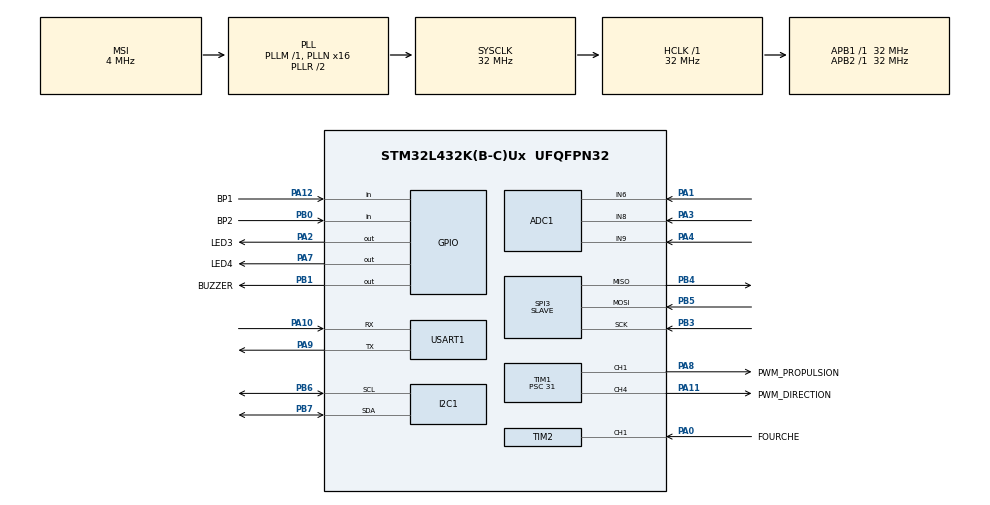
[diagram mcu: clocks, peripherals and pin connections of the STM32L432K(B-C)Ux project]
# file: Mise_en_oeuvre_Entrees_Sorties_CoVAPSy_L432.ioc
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ADC1.Channel-0\#ChannelRegularConversion=ADC_CHANNEL_6
ADC1.Channel-1\#ChannelRegularConversion=ADC_CHANNEL_8
ADC1.Channel-2\#ChannelRegularConversion=ADC_CHANNEL_9
ADC1.ClockPrescaler=ADC_CLOCK_ASYNC_DIV1
ADC1.ContinuousConvMode=DISABLE
ADC1.DMAContinuousRequests=ENABLE
ADC1.DiscontinuousConvMode=DISABLE
ADC1.EOCSelection=ADC_EOC_SEQ_CONV
ADC1.NbrOfConversion=3
ADC1.NbrOfConversionFlag=1
ADC1.OffsetNumber-0\#ChannelRegularConversion=ADC_OFFSET_NONE
ADC1.OffsetNumber-1\#ChannelRegularConversion=ADC_OFFSET_NONE
ADC1.OffsetNumber-2\#ChannelRegularConversion=ADC_OFFSET_NONE
ADC1.Overrun=ADC_OVR_DATA_OVERWRITTEN
ADC1.Rank-0\#ChannelRegularConversion=1
ADC1.Rank-1\#ChannelRegularConversion=2
ADC1.Rank-2\#ChannelRegularConversion=3
ADC1.SamplingTime-0\#ChannelRegularConversion=ADC_SAMPLETIME_2CYCLES_5
ADC1.SamplingTime-1\#ChannelRegularConversion=ADC_SAMPLETIME_2CYCLES_5
ADC1.SamplingTime-2\#ChannelRegularConversion=ADC_SAMPLETIME_2CYCLES_5
ADC1.master=1
Dma.ADC1.0.Direction=DMA_PERIPH_TO_MEMORY
Dma.ADC1.0.Instance=DMA1_Channel1
Dma.ADC1.0.MemDataAlignment=DMA_MDATAALIGN_WORD
Dma.ADC1.0.MemInc=DMA_MINC_ENABLE
Dma.ADC1.0.Mode=DMA_CIRCULAR
Dma.ADC1.0.PeriphDataAlignment=DMA_PDATAALIGN_WORD
Dma.ADC1.0.PeriphInc=DMA_PINC_DISABLE
Dma.ADC1.0.Priority=DMA_PRIORITY_LOW
Dma.Request0=ADC1
Dma.Request1=SPI3_TX
Dma.Request2=SPI3_RX
Dma.SPI3_RX.2.Direction=DMA_PERIPH_TO_MEMORY
Dma.SPI3_RX.2.Instance=DMA2_Channel1
Dma.SPI3_RX.2.MemDataAlignment=DMA_MDATAALIGN_BYTE
Dma.SPI3_RX.2.MemInc=DMA_MINC_ENABLE
Dma.SPI3_RX.2.Mode=DMA_NORMAL
Dma.SPI3_RX.2.PeriphDataAlignment=DMA_PDATAALIGN_BYTE
Dma.SPI3_RX.2.PeriphInc=DMA_PINC_DISABLE
Dma.SPI3_RX.2.Priority=DMA_PRIORITY_LOW
Dma.SPI3_TX.1.Direction=DMA_MEMORY_TO_PERIPH
Dma.SPI3_TX.1.Instance=DMA2_Channel2
Dma.SPI3_TX.1.MemDataAlignment=DMA_MDATAALIGN_BYTE
Dma.SPI3_TX.1.MemInc=DMA_MINC_ENABLE
Dma.SPI3_TX.1.Mode=DMA_NORMAL
Dma.SPI3_TX.1.PeriphDataAlignment=DMA_PDATAALIGN_BYTE
Dma.SPI3_TX.1.PeriphInc=DMA_PINC_DISABLE
Dma.SPI3_TX.1.Priority=DMA_PRIORITY_LOW
I2C1.Timing=0x00707CBB
Mcu.Family=STM32L4
Mcu.Name=STM32L432K(B-C)Ux
Mcu.Package=UFQFPN32
NVIC.DMA1_Channel1_IRQn=true\:0\:0\:false\:false\:true\:false\:true\:true
NVIC.DMA2_Channel1_IRQn=true\:0\:0\:false\:false\:true\:false\:true\:true
NVIC.DMA2_Channel2_IRQn=true\:0\:0\:false\:false\:true\:false\:true\:true
NVIC.PriorityGroup=NVIC_PRIORITYGROUP_4
NVIC.SPI3_IRQn=true\:0\:0\:false\:false\:true\:true\:true\:true
NVIC.TIM2_IRQn=true\:0\:0\:false\:false\:true\:true\:true\:true
NVIC.TIM6_DAC_IRQn=true\:0\:0\:false\:false\:true\:true\:true\:true
PA0.GPIO_Label=FOURCHE
PA0.Signal=S_TIM2_CH1
PA1.Signal=ADCx_IN6
PA10.Mode=Asynchronous
PA10.Signal=USART1_RX
PA11.GPIO_Label=PWM_DIRECTION
PA11.Signal=S_TIM1_CH4
PA12.GPIO_Label=BP1
PA12.Signal=GPIO_Input
PA13\ (JTMS-SWDIO).GPIO_Label=SWDIO
PA13\ (JTMS-SWDIO).Mode=Serial_Wire
PA13\ (JTMS-SWDIO).Signal=SYS_JTMS-SWDIO
PA14\ (JTCK-SWCLK).GPIO_Label=SWCLK
PA14\ (JTCK-SWCLK).Mode=Serial_Wire
PA14\ (JTCK-SWCLK).Signal=SYS_JTCK-SWCLK
PA15\ (JTDI).GPIO_Label=VCP_RX
PA15\ (JTDI).Signal=USART2_RX
PA2.GPIO_Label=LED3
PA2.Signal=GPIO_Output
PA3.Signal=ADCx_IN8
PA4.Signal=ADCx_IN9
PA7.GPIO_Label=LED4
PA7.Signal=GPIO_Output
PA8.GPIO_Label=PWM_PROPULSION
PA8.Signal=S_TIM1_CH1
PA9.Mode=Asynchronous
PA9.Signal=USART1_TX
PB0.GPIO_Label=BP2
PB0.Signal=GPIO_Input
PB1.GPIO_Label=BUZZER
PB1.Signal=GPIO_Output
PB3\ (JTDO-TRACESWO).Mode=Full_Duplex_Slave
PB3\ (JTDO-TRACESWO).Signal=SPI3_SCK
PB4\ (NJTRST).Mode=Full_Duplex_Slave
PB4\ (NJTRST).Signal=SPI3_MISO
PB5.Mode=Full_Duplex_Slave
PB5.Signal=SPI3_MOSI
PB6.Mode=I2C
PB6.Signal=I2C1_SCL
PB7.Mode=I2C
PB7.Signal=I2C1_SDA
PC14-OSC32_IN\ (PC14).Mode=LSE-External-Oscillator
PC14-OSC32_IN\ (PC14).Signal=RCC_OSC32_IN
PC15-OSC32_OUT\ (PC15).Mode=LSE-External-Oscillator
PC15-OSC32_OUT\ (PC15).Signal=RCC_OSC32_OUT
ProjectManager.HeapSize=0x200
ProjectManager.StackSize=0x400
ProjectManager.TargetToolchain=STM32CubeIDE
RCC.ADCFreq_Value=32000000
RCC.AHBFreq_Value=32000000
RCC.APB1Freq_Value=32000000
RCC.APB1TimFreq_Value=32000000
RCC.APB2Freq_Value=32000000
RCC.APB2TimFreq_Value=32000000
RCC.CortexFreq_Value=32000000
RCC.HCLKFreq_Value=32000000
RCC.HSE_VALUE=8000000
RCC.HSI16_VALUE=16000000
RCC.HSI48_VALUE=48000000
RCC.HSI_VALUE=16000000
RCC.MSI_VALUE=4000000
RCC.PLLMUL=RCC_PLLMUL_4
RCC.PLLN=16
RCC.PLLSAI1N=16
RCC.SYSCLKFreq_VALUE=32000000
RCC.SYSCLKSource=RCC_SYSCLKSOURCE_PLLCLK
RCC.USBFreq_Value=32000000
RCC.VCOOutputFreq_Value=64000000
SH.ADCx_IN6.0=ADC1_IN6,IN6-Single-Ended
SH.ADCx_IN8.0=ADC1_IN8,IN8-Single-Ended
SH.ADCx_IN9.0=ADC1_IN9,IN9-Single-Ended
SH.S_TIM1_CH1.0=TIM1_CH1,PWM Generation1 CH1
SH.S_TIM1_CH4.0=TIM1_CH4,PWM Generation4 CH4
SH.S_TIM2_CH1.0=TIM2_CH1,Input_Capture1_from_TI1
SPI3.CRCCalculation=SPI_CRCCALCULATION_DISABLE
SPI3.DataSize=SPI_DATASIZE_8BIT
SPI3.Direction=SPI_DIRECTION_2LINES
SPI3.Mode=SPI_MODE_SLAVE
SPI3.VirtualType=VM_SLAVE
TIM1.Channel-PWM\ Generation1\ CH1=TIM_CHANNEL_1
TIM1.Channel-PWM\ Generation4\ CH4=TIM_CHANNEL_4
TIM1.Period=20000
TIM1.Prescaler=31
TIM1.Pulse-PWM\ Generation1\ CH1=1500
TIM1.Pulse-PWM\ Generation4\ CH4=1500
TIM2.Channel-Input_Capture1_from_TI1=TIM_CHANNEL_1
TIM2.ICPolarity_CH1=TIM_INPUTCHANNELPOLARITY_FALLING
TIM2.Prescaler=31
TIM6.Period=2272
TIM6.Prescaler=31
USART1.VirtualMode-Asynchronous=VM_ASYNC
VP_TIM1_VS_ClockSourceINT.Mode=Internal
VP_TIM2_VS_ClockSourceINT.Mode=Internal
VP_TIM6_VS_ClockSourceINT.Mode=Enable_Timer
board=NUCLEO-L432KC

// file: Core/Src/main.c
/* USER CODE BEGIN Header */
/**
  ******************************************************************************
  * @file           : main.c
  * @brief          : Main program body
  ******************************************************************************
  * @attention
  *
  * Copyright (c) 2023 STMicroelectronics.
  * All rights reserved.
  *
  * This software is licensed under terms that can be found in the LICENSE file
  * in the root directory of this software component.
  * If no LICENSE file comes with this software, it is provided AS-IS.
  *
  ******************************************************************************
  */
/* USER CODE END Header */
#include "main.h"
#include "adc.h"
#include "dma.h"
#include "i2c.h"
#include "spi.h"
#include "tim.h"
#include "usart.h"
#include "gpio.h"

/* USER CODE BEGIN Includes */
#include "CoVAPSy_buzzer.h"
#include "CoVAPSy_bno055.h"
#include "u8g.h"
#include "stdio.h"
#include "data.h"
/* USER CODE END Includes */

/* USER CODE BEGIN PD */
#define BP_ENFONCE 0
#define BP_RELACHE 1
#define BUTEE_DROITE 1630
#define BUTEE_GAUCHE 1160
#define DISTANCE_1_TOUR_AXE_TRANSMISSION_MM 79
#define ADRES_SRF10 0x70
#define ADDRESS_TF051 0x3C

/* USER CODE END PD */

/* USER CODE BEGIN PV */

/* Variables globales
 * vitesse_mesuree_m_s : vitesse lineaire mesuree par la fourche optique
 * lectures_ADC[3] : les deux premières cases contiennent les données des capteurs infrarouges à l'arrière
 * roll : roulis de la voiture (EULER)
 * yaw : lacet (EULER)
 * pitch : tangage (EULER)
 * acc_x, acc_y : accélération liée à la gravité
 * lia_x, lia_y : accélération linéaire liée à l'accélération moteur
 * gyr_z : vitesse de rotation autour de l'axe z
 * distance_US : distance mesurée par le capteur ultrason ou sonar à l'arrière de la voiture
 * temp : température de l'IMU
 */

float vitesse_mesuree_m_s = 0;
uint16_t vitesse_mesuree_mm_s = 0;
uint32_t lectures_ADC[3];
uint8_t SPI_TxBuffer_data[12]={}; 	//buffer pour la transmission SPI
uint8_t SPI_RxBuffer[12] ={}; 		// Buffer pour la réception SPI
int16_t roll, yaw, pitch, distance_US, acc_x, acc_y, lia_x, lia_y, gyr_z;
uint8_t temp;
uint32_t drapeau = 0;
static u8g_t u8g;

/* USER CODE END PV */

void SystemClock_Config(void);

/* USER CODE BEGIN 0 */
uint8_t control = 0;
void u8g_Delay(uint16_t val) {
    HAL_Delay(val);
}
void u8g_xMicroDelay(uint16_t val) {
    static uint32_t i, j;
    static uint32_t freq;
    freq = HAL_RCC_GetSysClockFreq() / 1000000;

    for (i = 0; i < val;) {
        for (j = 0; j < freq; ++j) {
            ++j;
        }
        ++i;
    }
}
void u8g_MicroDelay(void) {
    u8g_xMicroDelay(1);
}
void u8g_10MicroDelay(void) {
    u8g_xMicroDelay(10);
}

uint8_t u8g_com_arm_stm32_sh_i2c_fn(u8g_t *u8g, uint8_t msg, uint8_t arg_val, void *arg_ptr) {
    switch (msg) {
    case U8G_COM_MSG_STOP:
        break;

    case U8G_COM_MSG_INIT:
        u8g_MicroDelay();
        break;

    case U8G_COM_MSG_ADDRESS:
        if (arg_val == 0) {
            control = 0;
        } else {
            control = 0x40;
        }
        u8g_10MicroDelay();
        break;

    case U8G_COM_MSG_WRITE_BYTE: {
        HAL_I2C_Mem_Write(&hi2c1, ADDRESS_TF051<<1, control, 1, &arg_val, 1, 10000);
    }
        break;

    case U8G_COM_MSG_WRITE_SEQ:
    case U8G_COM_MSG_WRITE_SEQ_P: {
        HAL_I2C_Mem_Write(&hi2c1, ADDRESS_TF051<<1, control, 1, arg_ptr, arg_val, 10000);
    }

        break;
    }
    return 1;
}

void displayInitializationMessage(u8g_t *u8g) {
    u8g_FirstPage(u8g);
    do {
        u8g_SetFont(u8g, u8g_font_profont12);
        u8g_DrawStr(u8g, 0, 24, "Sorbonne Bolide 1");
        u8g_DrawStr(u8g, 0, 36, "Initialisation OK");
    } while (u8g_NextPage(u8g));
}

/* USER CODE END 0 */

int main(void)
{
  /* USER CODE BEGIN 1 */

	uint32_t bp1,bp2,bp1_old=0,bp2_old=0;
	uint8_t donnees_Tx_i2c[8];
	uint8_t donnees_Rx_i2c[8];
	char text[50];
	enum State Init_state = OK;

  /* USER CODE END 1 */

  /* MCU Configuration--------------------------------------------------------*/

  /* Reset of all peripherals, Initializes the Flash interface and the Systick. */
  HAL_Init();

  /* Configure the system clock */
  SystemClock_Config();

  /* Initialize all configured peripherals */
  MX_GPIO_Init();
  MX_DMA_Init();
  MX_ADC1_Init();
  MX_SPI3_Init();
  MX_TIM1_Init();
  MX_USART1_UART_Init();
  MX_TIM2_Init();
  MX_I2C1_Init();
  MX_TIM6_Init();
  /* USER CODE BEGIN 2 */
  HAL_TIM_Base_Start_IT(&htim2);
  HAL_TIM_IC_Start_IT(&htim2, TIM_CHANNEL_1);
  HAL_TIM_PWM_Start(&htim1, TIM_CHANNEL_1);
  HAL_TIM_PWM_Start(&htim1, TIM_CHANNEL_4);

  // Buzzer starting sequence (Pirate des caraibes)
  buzzer_start();
  buzzer_gamme();

  // Initialization of the IMU sensor
  Init_state = bno055_init();

  if(Init_state == KO){
	  u8g_FirstPage(&u8g);
		  do {
			  u8g_SetFont(&u8g, u8g_font_profont12);
			  u8g_DrawStr(&u8g, 0, 24, "Sorbonne Bolide 1");
			  u8g_DrawStr(&u8g, 0, 36, "!!! Bad Init IMU !!!");
		     } while (u8g_NextPage(&u8g));
		  HAL_Delay(3000);
  	  }

  // Initialization of the screen
  u8g_InitComFn(&u8g, &u8g_dev_sh1106_128x64_i2c, u8g_com_arm_stm32_sh_i2c_fn);
  u8g_Begin(&u8g);

  if(Init_state == OK){
		u8g_FirstPage(&u8g);
		  do {
			  u8g_SetFont(&u8g, u8g_font_profont12);
			  u8g_DrawStr(&u8g, 0, 24, "Sorbonne Bolide 1");
			  u8g_DrawStr(&u8g, 0, 36, "Initialisation OK");
		  } while (u8g_NextPage(&u8g));
		HAL_Delay(3000);
       }

  /* USER CODE END 2 */

  /* Infinite loop */
  /* USER CODE BEGIN WHILE */
  while (1)
  {
	  //démarrage de la conversion ADC des 3 canaux
	  HAL_ADC_Start_DMA(&hadc1, lectures_ADC, 3);

	  //lecture des boutons
	  bp1 = HAL_GPIO_ReadPin(BP1_GPIO_Port, BP1_Pin);
	  bp2 = HAL_GPIO_ReadPin(BP2_GPIO_Port, BP2_Pin);

	  //détection front descendant sur bp1
	  if((bp1 == BP_ENFONCE) && (bp1_old == BP_RELACHE))
	  {
		  buzzer_start_frequency_Hz(1760);
		  HAL_Delay(500);
		  buzzer_stop();
	  }

	  //détection front descendant sur bp2
	  if((bp2 == BP_ENFONCE) && (bp2_old == BP_RELACHE))
	  {
		  //changement d'état de la Led4
		  HAL_GPIO_TogglePin(LED4_GPIO_Port, LED4_Pin);
	  }
	  //lecture ultrason
	donnees_Tx_i2c[0]=0x02;
	while (HAL_I2C_GetState(&hi2c1) != HAL_I2C_STATE_READY);
	HAL_I2C_Master_Transmit(&hi2c1, (uint16_t)ADRES_SRF10<<1, donnees_Tx_i2c, 1, 1000);
	while (HAL_I2C_GetState(&hi2c1) != HAL_I2C_STATE_READY);
	HAL_I2C_Master_Receive(&hi2c1, (uint16_t)ADRES_SRF10<<1, donnees_Rx_i2c, 2, 1);
	distance_US = (uint16_t)(donnees_Rx_i2c[0]<<8) + donnees_Rx_i2c[1];

	  roll = bno055_lecture_16bits(EULER_ROLL_16bits);
	  yaw = bno055_lecture_16bits(EULER_YAW_16bits);
	  pitch = bno055_lecture_16bits(EULER_PITCH_16bits);

	  acc_x = bno055_lecture_16bits(ACC_X_16bits);
	  acc_y = bno055_lecture_16bits(ACC_Y_16bits);

	  lia_x = bno055_lecture_16bits(LIA_X_16bits);
	  lia_y = bno055_lecture_16bits(LIA_Y_16bits);

	  // si il n'y a pas eu de lecture de la vitesse récemment
	  if(drapeau==0)
	  {
		  vitesse_mesuree_mm_s = 0;
		  vitesse_mesuree_m_s = 0;
	  }
	  drapeau = 0;

	  u8g_FirstPage(&u8g);
		do {
			u8g_SetFont(&u8g, u8g_font_profont12);
			sprintf(text,"Sorbonne Bolide 1");
			u8g_DrawStr(&u8g, 0, 12,  text);
			sprintf(text,"vitesse %5u mm/s", (unsigned int)vitesse_mesuree_mm_s);
			u8g_DrawStr(&u8g, 0, 24,  text);
			sprintf(text,"yaw_RAW : %5d", yaw);
			u8g_DrawStr(&u8g, 0, 36,  text);
			//sprintf(text,"Sonar : %5d cm", distance_US);
			//u8g_DrawStr(&u8g, 0, 36,  text);
			sprintf(text,"IR gauche : %5u", (unsigned int)lectures_ADC[0]);
			u8g_DrawStr(&u8g, 0, 48,  text);
			sprintf(text,"IR droit : %5u", (unsigned int)lectures_ADC[1]);
			u8g_DrawStr(&u8g, 0, 60,  text);
		} while (u8g_NextPage(&u8g));

	  //Demande de lecture ultrason
	  donnees_Tx_i2c[0]=0x00;
	  donnees_Tx_i2c[1]=0x51;
	  while (HAL_I2C_GetState(&hi2c1) != HAL_I2C_STATE_READY);
	  HAL_I2C_Master_Transmit(&hi2c1, (uint16_t)ADRES_SRF10<<1, donnees_Tx_i2c, 2, 1000);

	  HAL_Delay(100);

	  //attente de la fin de la conversion ADC, si jamais ce n'est pas encore fini
	  //HAL_ADC_PollForConversion(&hadc1, 1);

	  //sauvegarde des valeurs de bp1 et bp2 pour la détection des fronts
	  bp1_old = bp1;
	  bp2_old = bp2;

	  /************* Communication SPI avec la Raspberry Pi *************/

	  /* Ici, on choisi les données capteurs qui vont être envoyées vers la Raspi
	  *  Il est possible de choisir différentes données parmis celles récupérées
	  *  Pour l'instant, les données envoyées sont : yaw, linear acceleration y (lia_y), vitesse, distance_US, IR_gauche et IR_droit
	  *  On découpe les données en 2 (ce sont des uint16_t et on a besoin d'uint8_t pour la communication SPI)
	  */

	  // Remplir le buffer de transmission avec les données des capteurs
	  //SPI_TxBuffer_data[0] = (uint8_t)(roll & 0xFF);           // Octet de poids faible de roll
	  //SPI_TxBuffer_data[1] = (uint8_t)((roll >> 8) & 0xFF);    // Octet de poids fort de roll

	  SPI_TxBuffer_data[0] = (uint8_t)(yaw & 0xFF);            // Octet de poids faible de yaw
	  SPI_TxBuffer_data[1] = (uint8_t)((yaw >> 8) & 0xFF);     // Octet de poids fort de yaw

	  //SPI_TxBuffer_data[4] = (uint8_t)(pitch & 0xFF);          // Octet de poids faible de pitch
	  //SPI_TxBuffer_data[5] = (uint8_t)((pitch >> 8) & 0xFF);   // Octet de poids fort de pitch

	  SPI_TxBuffer_data[2] = (uint8_t)(lia_y & 0xFF);    // Octet de poids faible de acceleration lineaire
	  SPI_TxBuffer_data[3] = (uint8_t)((lia_y >> 8) & 0xFF); // Octet de poids fort de acceleration lineaire

	  SPI_TxBuffer_data[4] = (uint8_t)(vitesse_mesuree_mm_s & 0xFF);    // Octet de poids faible de vitesse_mesuree_mm_s
	  SPI_TxBuffer_data[5] = (uint8_t)((vitesse_mesuree_mm_s >> 8) & 0xFF); // Octet de poids fort de vitesse_mesuree_mm_s

	  SPI_TxBuffer_data[6] = (uint8_t)(distance_US & 0xFF);    // Octet de poids faible de distance_US
	  SPI_TxBuffer_data[7] = (uint8_t)((distance_US >> 8) & 0xFF); // Octet de poids fort de distance_US

	  SPI_TxBuffer_data[8] = (uint8_t)(((uint16_t)(lectures_ADC[0])) & 0xFF);    // Octet de poids faible de l'IR gauche
	  SPI_TxBuffer_data[9] = (uint8_t)((((uint16_t)(lectures_ADC[0])) >> 8) & 0xFF); // Octet de poids fort de l'IR gauche

	  SPI_TxBuffer_data[10] = (uint8_t)(((uint16_t)(lectures_ADC[1])) & 0xFF);    // Octet de poids faible de l'IR droit
	  SPI_TxBuffer_data[11] = (uint8_t)((((uint16_t)(lectures_ADC[1])) >> 8) & 0xFF); // Octet de poids fort de l'IR droit

	  if(HAL_SPI_TransmitReceive_DMA(&hspi3, (uint8_t *)SPI_TxBuffer_data, (uint8_t *)SPI_RxBuffer, 12) != HAL_OK)
	  	  {
		  	  printf("erreur SPI");
	  	  }

    /* USER CODE END WHILE */

  }
}

void SystemClock_Config(void)
{
  RCC_OscInitTypeDef RCC_OscInitStruct = {0};
  RCC_ClkInitTypeDef RCC_ClkInitStruct = {0};

  /** Configure the main internal regulator output voltage
  */
  if (HAL_PWREx_ControlVoltageScaling(PWR_REGULATOR_VOLTAGE_SCALE1) != HAL_OK)
  {
    Error_Handler();
  }

  /** Configure LSE Drive Capability
  */
  HAL_PWR_EnableBkUpAccess();
  __HAL_RCC_LSEDRIVE_CONFIG(RCC_LSEDRIVE_LOW);

  /** Initializes the RCC Oscillators according to the specified parameters
  * in the RCC_OscInitTypeDef structure.
  */
  RCC_OscInitStruct.OscillatorType = RCC_OSCILLATORTYPE_LSE|RCC_OSCILLATORTYPE_MSI;
  RCC_OscInitStruct.LSEState = RCC_LSE_ON;
  RCC_OscInitStruct.MSIState = RCC_MSI_ON;
  RCC_OscInitStruct.MSICalibrationValue = 0;
  RCC_OscInitStruct.MSIClockRange = RCC_MSIRANGE_6;
  RCC_OscInitStruct.PLL.PLLState = RCC_PLL_ON;
  RCC_OscInitStruct.PLL.PLLSource = RCC_PLLSOURCE_MSI;
  RCC_OscInitStruct.PLL.PLLM = 1;
  RCC_OscInitStruct.PLL.PLLN = 16;
  RCC_OscInitStruct.PLL.PLLP = RCC_PLLP_DIV7;
  RCC_OscInitStruct.PLL.PLLQ = RCC_PLLQ_DIV2;
  RCC_OscInitStruct.PLL.PLLR = RCC_PLLR_DIV2;
  if (HAL_RCC_OscConfig(&RCC_OscInitStruct) != HAL_OK)
  {
    Error_Handler();
  }

  /** Initializes the CPU, AHB and APB buses clocks
  */
  RCC_ClkInitStruct.ClockType = RCC_CLOCKTYPE_HCLK|RCC_CLOCKTYPE_SYSCLK
                              |RCC_CLOCKTYPE_PCLK1|RCC_CLOCKTYPE_PCLK2;
  RCC_ClkInitStruct.SYSCLKSource = RCC_SYSCLKSOURCE_PLLCLK;
  RCC_ClkInitStruct.AHBCLKDivider = RCC_SYSCLK_DIV1;
  RCC_ClkInitStruct.APB1CLKDivider = RCC_HCLK_DIV1;
  RCC_ClkInitStruct.APB2CLKDivider = RCC_HCLK_DIV1;

  if (HAL_RCC_ClockConfig(&RCC_ClkInitStruct, FLASH_LATENCY_1) != HAL_OK)
  {
    Error_Handler();
  }

  /** Enable MSI Auto calibration
  */
  HAL_RCCEx_EnableMSIPLLMode();
}

/* USER CODE BEGIN 4 */
void HAL_TIM_IC_CaptureCallback(TIM_HandleTypeDef* htim)
{
	static uint32_t mesure_precedente_us=0, mesure_us, indice=0, i;
	static uint32_t tableau_intervalles_us[16]={};
	static float coefficient_distance_par_intervalle_us = DISTANCE_1_TOUR_AXE_TRANSMISSION_MM *1000 / 16.0;
	static uint32_t somme_intervalles_us = 0;
	uint32_t nb_intervalles=0;
	HAL_GPIO_WritePin(LED3_GPIO_Port, LED3_Pin,1);
	mesure_us = __HAL_TIM_GET_COMPARE(&htim2, TIM_CHANNEL_1); // ou TIM2->CCR1
	if((mesure_us-mesure_precedente_us) >= 300) //si mesure cohérente (pas un glitch):
	{
		if((mesure_us > (mesure_precedente_us+100000)) || ((mesure_us-100000) > mesure_precedente_us)) //cas d'un nouveau départ
		{
			for(indice=0;indice<16;indice++)
			{
				tableau_intervalles_us[indice] = 0;
			}
			indice=0;
		}
		else //cas où on tourne depuis plus d'un intervalle
		{
			drapeau = 1;
			tableau_intervalles_us[indice] = mesure_us - mesure_precedente_us; //on sauvegarde la nouvelle mesure dans le tableau
			//On fait une moyenne sur 10 ms au plus ou 16 valeurs.
			somme_intervalles_us = 0;
			i= indice;
			do{
				if(tableau_intervalles_us[i]==0)
						break;
				somme_intervalles_us += tableau_intervalles_us[i];
				i = (i - 1)%16;
				nb_intervalles++;
			}while ((somme_intervalles_us<100000) && (nb_intervalles < 16));
			indice = (indice+1)%16; // on incrémente l'indice avec retour à 0 pour indice = 16
			vitesse_mesuree_m_s = coefficient_distance_par_intervalle_us * nb_intervalles / somme_intervalles_us;
			vitesse_mesuree_mm_s = 1000*vitesse_mesuree_m_s;
		}
		mesure_precedente_us = mesure_us;
	}
}

void HAL_TIM_PeriodElapsedCallback(TIM_HandleTypeDef* htim)
{
	HAL_GPIO_TogglePin(BUZZER_GPIO_Port, BUZZER_Pin);
}

/* USER CODE END 4 */

void Error_Handler(void)
{
  __disable_irq();
  while (1)
  {
  }
}
